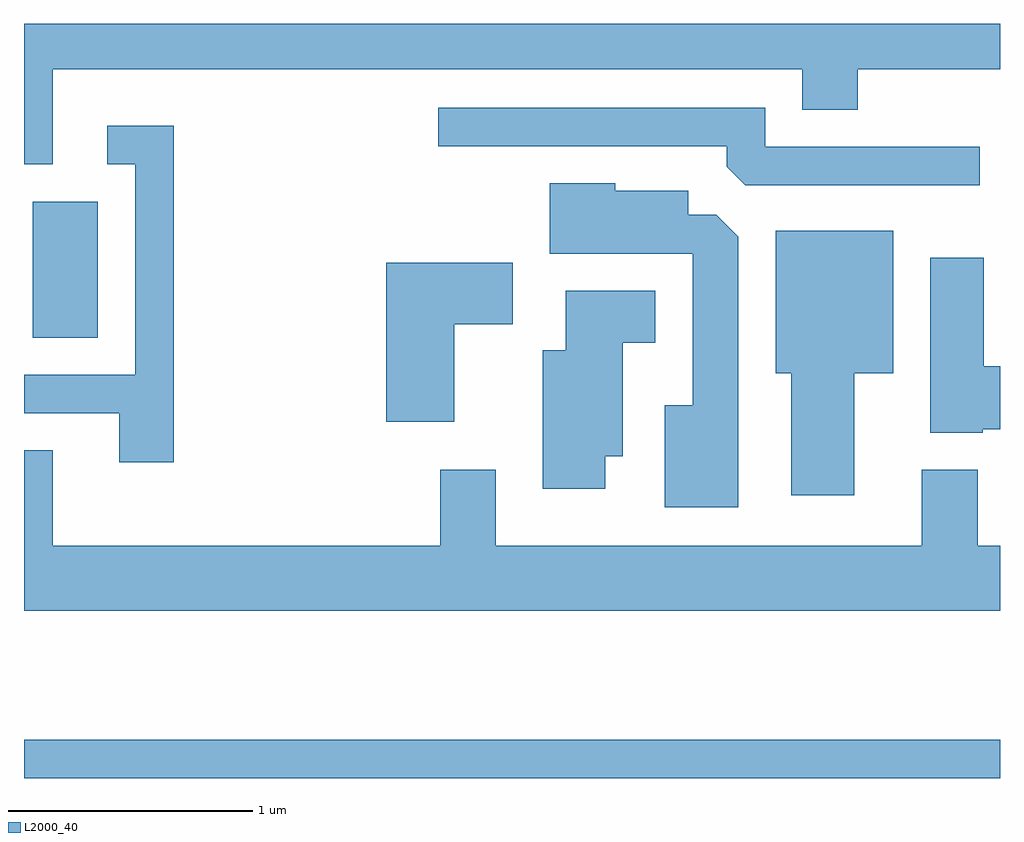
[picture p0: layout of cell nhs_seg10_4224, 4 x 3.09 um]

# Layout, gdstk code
import gdstk
lib = gdstk.Library(unit=1e-6, precision=1e-09)
def R(c, l, rs):  # rectangles x0, y0, x1, y1
    for r in rs: c.add(gdstk.rectangle(r[:2], r[2:], *l))
def P(c, l, *ps):  # polygons
    for p in ps: c.add(gdstk.Polygon(p, *l))
L2000_40 = (2000, 40)

nhs_seg10_4224 = lib.new_cell('nhs_seg10_4224')
R(nhs_seg10_4224, L2000_40, [(309.611,2135.431,313.611,2135.589), (309.646,2137.236,309.914,2137.794)])
P(nhs_seg10_4224, L2000_40, [(309.611,2137.946),(309.729,2137.946),(309.729,2138.336),(312.801,2138.336),(312.801,2138.171),(313.029,2138.171),(313.029,2138.336),(313.611,2138.336),(313.611,2138.522),(309.611,2138.522)],
  [(313.528,2138.019),(312.649,2138.019),(312.649,2138.179),(311.308,2138.179),(311.308,2138.021),(312.491,2138.021),(312.491,2137.937),(312.567,2137.861),(313.528,2137.861)],
  [(310.224,2138.104),(309.953,2138.104),(309.953,2137.946),(310.066,2137.946),(310.066,2137.084),(309.611,2137.084),(309.611,2136.926),(310.001,2136.926),(310.001,2136.726),(310.224,2136.726)],
  [(312.539,2137.649),(312.449,2137.739),(312.334,2137.739),(312.334,2137.839),(312.034,2137.839),(312.034,2137.869),(311.766,2137.869),(311.766,2137.581),(312.351,2137.581),(312.351,2136.959),(312.236,2136.959),(312.236,2136.541),(312.539,2136.541)],
  [(313.014,2137.091),(313.174,2137.091),(313.174,2137.674),(312.691,2137.674),(312.691,2137.091),(312.756,2137.091),(312.756,2136.591),(313.014,2136.591)],
  [(313.54,2136.861),(313.611,2136.861),(313.611,2137.119),(313.544,2137.119),(313.544,2137.564),(313.326,2137.564),(313.326,2136.846),(313.54,2136.846)],
  [(311.374,2137.291),(311.614,2137.291),(311.614,2137.544),(311.096,2137.544),(311.096,2136.891),(311.374,2136.891)],
  [(311.994,2136.751),(312.064,2136.751),(312.064,2137.216),(312.199,2137.216),(312.199,2137.429),(311.831,2137.429),(311.831,2137.184),(311.736,2137.184),(311.736,2136.616),(311.994,2136.616)],
  [(313.611,2136.384),(313.519,2136.384),(313.519,2136.694),(313.291,2136.694),(313.291,2136.384),(311.544,2136.384),(311.544,2136.694),(311.316,2136.694),(311.316,2136.384),(309.729,2136.384),(309.729,2136.774),(309.611,2136.774),(309.611,2136.116),(313.611,2136.116)])

lib.write_gds('nhs_seg10_4224.gds')
